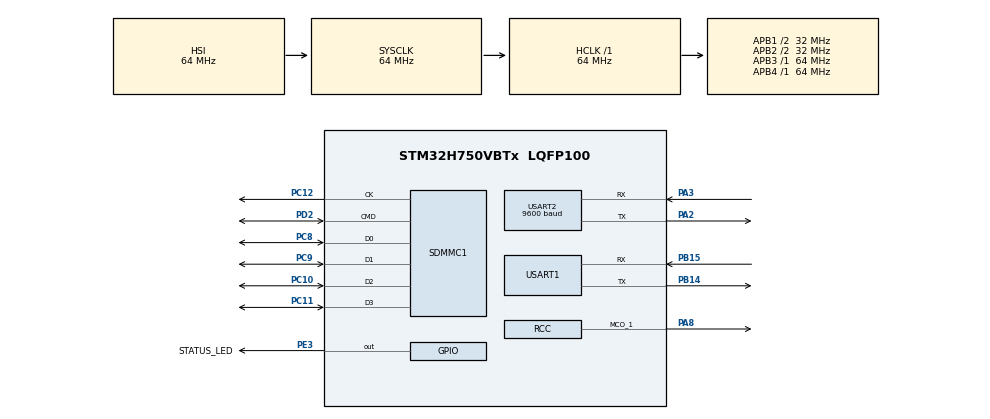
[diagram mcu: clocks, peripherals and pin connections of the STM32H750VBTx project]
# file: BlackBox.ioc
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CORTEX_M7.default_mode_Activation=1
Dma.Request0=USART2_RX
Dma.USART2_RX.0.Direction=DMA_PERIPH_TO_MEMORY
Dma.USART2_RX.0.EventEnable=DISABLE
Dma.USART2_RX.0.FIFOMode=DMA_FIFOMODE_DISABLE
Dma.USART2_RX.0.Instance=DMA1_Stream0
Dma.USART2_RX.0.MemDataAlignment=DMA_MDATAALIGN_BYTE
Dma.USART2_RX.0.MemInc=DMA_MINC_ENABLE
Dma.USART2_RX.0.Mode=DMA_CIRCULAR
Dma.USART2_RX.0.PeriphDataAlignment=DMA_PDATAALIGN_BYTE
Dma.USART2_RX.0.PeriphInc=DMA_PINC_DISABLE
Dma.USART2_RX.0.Polarity=HAL_DMAMUX_REQ_GEN_RISING
Dma.USART2_RX.0.Priority=DMA_PRIORITY_LOW
Dma.USART2_RX.0.RequestNumber=1
Dma.USART2_RX.0.SignalID=NONE
Dma.USART2_RX.0.SyncEnable=DISABLE
Dma.USART2_RX.0.SyncPolarity=HAL_DMAMUX_SYNC_NO_EVENT
Dma.USART2_RX.0.SyncRequestNumber=1
Dma.USART2_RX.0.SyncSignalID=NONE
FREERTOS.Tasks01=defaultTask,24,128,StartDefaultTask,Default,NULL,Dynamic,NULL,NULL
FREERTOS.configTOTAL_HEAP_SIZE=16384
Mcu.Family=STM32H7
Mcu.Name=STM32H750VBTx
Mcu.Package=LQFP100
NVIC.DMA1_Stream0_IRQn=true\:5\:0\:false\:false\:true\:true\:false\:true\:true
NVIC.PriorityGroup=NVIC_PRIORITYGROUP_4
NVIC.RCC_IRQn=true\:5\:0\:false\:false\:true\:true\:true\:false\:true
NVIC.SDMMC1_IRQn=true\:5\:0\:false\:false\:true\:true\:true\:true\:true
NVIC.TIM6_DAC_IRQn=true\:15\:0\:false\:false\:true\:false\:false\:true\:true
NVIC.TimeBase=TIM6_DAC_IRQn
NVIC.TimeBaseIP=TIM6
NVIC.USART1_IRQn=true\:5\:0\:false\:false\:true\:true\:true\:true\:true
NVIC.USART2_IRQn=true\:5\:0\:false\:false\:true\:true\:true\:true\:true
PA2.Mode=Asynchronous
PA2.Signal=USART2_TX
PA3.Mode=Asynchronous
PA3.Signal=USART2_RX
PA8.Mode=Clock-out-1
PA8.Signal=RCC_MCO_1
PB14.Mode=Asynchronous
PB14.Signal=USART1_TX
PB15.Mode=Asynchronous
PB15.Signal=USART1_RX
PC10.Mode=SD_4_bits_Wide_bus
PC10.Signal=SDMMC1_D2
PC11.Mode=SD_4_bits_Wide_bus
PC11.Signal=SDMMC1_D3
PC12.Mode=SD_4_bits_Wide_bus
PC12.Signal=SDMMC1_CK
PC8.Mode=SD_4_bits_Wide_bus
PC8.Signal=SDMMC1_D0
PC9.Mode=SD_4_bits_Wide_bus
PC9.Signal=SDMMC1_D1
PD2.Mode=SD_4_bits_Wide_bus
PD2.Signal=SDMMC1_CMD
PE3.GPIO_Label=STATUS_LED
PE3.Signal=GPIO_Output
PH0-OSC_IN\ (PH0).Mode=HSE-External-Oscillator
PH0-OSC_IN\ (PH0).Signal=RCC_OSC_IN
PH1-OSC_OUT\ (PH1).Mode=HSE-External-Oscillator
PH1-OSC_OUT\ (PH1).Signal=RCC_OSC_OUT
ProjectManager.HeapSize=0x200
ProjectManager.StackSize=0x400
ProjectManager.TargetToolchain=CMake
RCC.ADCFreq_Value=129000000
RCC.APB1Freq_Value=32000000
RCC.APB2Freq_Value=32000000
RCC.APB3Freq_Value=64000000
RCC.APB4Freq_Value=64000000
RCC.CortexFreq_Value=64000000
RCC.D2PPRE1=RCC_APB1_DIV2
RCC.D2PPRE2=RCC_APB2_DIV2
RCC.DIVM1=4
RCC.DIVN1=10
RCC.HCLKFreq_Value=64000000
RCC.PLLFRACN=0
RCC.SYSCLKFreq_VALUE=64000000
RCC.USBFreq_Value=80000000
USART1.VirtualMode-Asynchronous=VM_ASYNC
USART2.BaudRate=9600
USART2.VirtualMode-Asynchronous=VM_ASYNC
VP_FATFS_VS_Generic.Mode=User_defined
VP_FREERTOS_VS_CMSIS_V2.Mode=CMSIS_V2
VP_MEMORYMAP_VS_MEMORYMAP.Mode=CurAppReg
VP_SYS_VS_tim6.Mode=TIM6
board=custom

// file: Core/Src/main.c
/* USER CODE BEGIN Header */
/**
  ******************************************************************************
  * @file           : main.c
  * @brief          : Main program body
  ******************************************************************************
  * @attention
  *
  * Copyright (c) 2026 STMicroelectronics.
  * All rights reserved.
  *
  * This software is licensed under terms that can be found in the LICENSE file
  * in the root directory of this software component.
  * If no LICENSE file comes with this software, it is provided AS-IS.
  *
  ******************************************************************************
  */
/* USER CODE END Header */
#include "main.h"
#include "FreeRTOS.h"
#include "cmsis_os2.h"
#include "fatfs.h"

/* USER CODE BEGIN PM */
#define MPU6050_ADDR (0x68 << 1)
#define REG_PWR_MGMT_1 0x6B
#define REG_ACCEL_XOUT_H 0x3B
#define GPS_BUS_SIZE 256
/* USER CODE END PM */

SD_HandleTypeDef hsd1;

UART_HandleTypeDef huart1;
UART_HandleTypeDef huart2;
DMA_HandleTypeDef hdma_usart2_rx;

/* Definitions for defaultTask */
osThreadId_t defaultTaskHandle;
const osThreadAttr_t defaultTask_attributes = {
  .name = "defaultTask",
  .stack_size = 128 * 4,
  .priority = (osPriority_t) osPriorityNormal,
};

void SystemClock_Config(void);
static void MPU_Config(void);
static void MX_GPIO_Init(void);
static void MX_DMA_Init(void);
static void MX_SDMMC1_SD_Init(void);
static void MX_USART1_UART_Init(void);
static void MX_USART2_UART_Init(void);
void StartDefaultTask(void *argument);

/* USER CODE BEGIN 0 */

void ImuTask(void *argument) {
  for(;;){
    LogRecord_t rec = read_mpu6050_and_pack();
    osMutexAcquire(ringBufMutex, osWaitForever);
    ring_buffer_push(&rec);
    osMutexRelease(ringBufMutex);
    osDelay(10);
  }
}

void LoggerTask(void* argument){
  for(;;) {
    osSemaphoreAcquire(flushSemaphore, osWaitForever);

    osMutexAcquire(ringBufMutex, osWaitForever);
    uint8_t *chunk; size_t len;
    ring_buffer_get_ready_chunk(&chunk, &len);
    osMutexRelease(ringBufMutex);
    UINT written;
    f_write(&lof_file, chunk, len, &written);
    maybe_sync();
  }
}

void mpu6050_init(I2C_HandleTypeDef *hi2c) {
  uint8_t wake = 0x00;
  HAL_I2C_Mem_Write(hi2c, MPU6050_ADDR, REG_PWR_MGMT_1, 1, &wake, 1, 100);
}

void mpu6050_read(I2C_HandleTypeDef *hi2c, int16_t *out /* {ax,ay,az,gz,gy,gz}*/) {
  uint8_t buf[14];
  HAL_I2C_Mem_Read(hi2c, MPU6050_ADDR, REG_ACCEL_XOUT_H, 1, buf, 14, 100);
  for (int i = 0; i < 6; i++) {
    int idx = (i < 3) ? i*2 : i*2+2;
    out[i] = (int16_t)((buf[idx] << 8) | buf[idx + 1]);
  }
}

void gps_start(UART_HandleTypeDef *huart){
  HAL_UARTEx_RecieveToIdle_DMA(huart, gps_dma_buf, GPS_BUF_SIZE);
  __HAL_DMA_DIABLE_IT(huart->hdmarx, DMA_IT_HT);
}

void HAL_UARTEx_RxEventCallback(UART_HandleTypeDef *huart, uint16_t Size) {
  osMessageQueuePut(gpsRawQueue, gps_dma_buf, 0, 0);
  HAL_UARTEx_ReceiveToIdle_DMA(huart, gps_dma_buf, GPS_BUF_SIZE);
}
/* USER CODE END 0 */

int main(void)
{

  /* USER CODE BEGIN 1 */
  res = f_mount(&fs, "", 1);
  if(res != FR_OK) {Error_Handler();}

  res = f_open(&file, "test.bin", FA_CREATE_ALWAYS | FA_WRITE);
  if(res != FR_OK) {Error_Handler();}
  const char msg[] = "Hello from STM32\n";
  res = f_write(&file, msg, sizeof(msg), &bytes_written);
  f_close(&file);
  /* USER CODE END 1 */

  /* MPU Configuration--------------------------------------------------------*/
  MPU_Config();

  /* MCU Configuration--------------------------------------------------------*/

  /* Reset of all peripherals, Initializes the Flash interface and the Systick. */
  HAL_Init();

  /* Configure the system clock */
  SystemClock_Config();

  /* Initialize all configured peripherals */
  MX_GPIO_Init();
  MX_DMA_Init();
  MX_SDMMC1_SD_Init();
  MX_USART1_UART_Init();
  MX_FATFS_Init();
  MX_USART2_UART_Init();

  /* Init scheduler */
  osKernelInitialize();

  /* Create the thread(s) */
  /* creation of defaultTask */
  defaultTaskHandle = osThreadNew(StartDefaultTask, NULL, &defaultTask_attributes);

  /* Start scheduler */
  osKernelStart();

  /* We should never get here as control is now taken by the scheduler */

  /* Infinite loop */
  while (1)
  {

  }
}

void SystemClock_Config(void)
{
  RCC_OscInitTypeDef RCC_OscInitStruct = {0};
  RCC_ClkInitTypeDef RCC_ClkInitStruct = {0};

  /** Supply configuration update enable
  */
  HAL_PWREx_ConfigSupply(PWR_LDO_SUPPLY);

  /** Configure the main internal regulator output voltage
  */
  __HAL_PWR_VOLTAGESCALING_CONFIG(PWR_REGULATOR_VOLTAGE_SCALE3);

  while(!__HAL_PWR_GET_FLAG(PWR_FLAG_VOSRDY)) {}

  /** Initializes the RCC Oscillators according to the specified parameters
  * in the RCC_OscInitTypeDef structure.
  */
  RCC_OscInitStruct.OscillatorType = RCC_OSCILLATORTYPE_HSI;
  RCC_OscInitStruct.HSIState = RCC_HSI_DIV1;
  RCC_OscInitStruct.HSICalibrationValue = RCC_HSICALIBRATION_DEFAULT;
  RCC_OscInitStruct.PLL.PLLState = RCC_PLL_ON;
  RCC_OscInitStruct.PLL.PLLSource = RCC_PLLSOURCE_HSI;
  RCC_OscInitStruct.PLL.PLLM = 4;
  RCC_OscInitStruct.PLL.PLLN = 10;
  RCC_OscInitStruct.PLL.PLLP = 2;
  RCC_OscInitStruct.PLL.PLLQ = 2;
  RCC_OscInitStruct.PLL.PLLR = 2;
  RCC_OscInitStruct.PLL.PLLRGE = RCC_PLL1VCIRANGE_3;
  RCC_OscInitStruct.PLL.PLLVCOSEL = RCC_PLL1VCOMEDIUM;
  RCC_OscInitStruct.PLL.PLLFRACN = 0;
  if (HAL_RCC_OscConfig(&RCC_OscInitStruct) != HAL_OK)
  {
    Error_Handler();
  }

  /** Initializes the CPU, AHB and APB buses clocks
  */
  RCC_ClkInitStruct.ClockType = RCC_CLOCKTYPE_HCLK|RCC_CLOCKTYPE_SYSCLK
                              |RCC_CLOCKTYPE_PCLK1|RCC_CLOCKTYPE_PCLK2
                              |RCC_CLOCKTYPE_D3PCLK1|RCC_CLOCKTYPE_D1PCLK1;
  RCC_ClkInitStruct.SYSCLKSource = RCC_SYSCLKSOURCE_HSI;
  RCC_ClkInitStruct.SYSCLKDivider = RCC_SYSCLK_DIV1;
  RCC_ClkInitStruct.AHBCLKDivider = RCC_HCLK_DIV1;
  RCC_ClkInitStruct.APB3CLKDivider = RCC_APB3_DIV1;
  RCC_ClkInitStruct.APB1CLKDivider = RCC_APB1_DIV2;
  RCC_ClkInitStruct.APB2CLKDivider = RCC_APB2_DIV2;
  RCC_ClkInitStruct.APB4CLKDivider = RCC_APB4_DIV1;

  if (HAL_RCC_ClockConfig(&RCC_ClkInitStruct, FLASH_LATENCY_1) != HAL_OK)
  {
    Error_Handler();
  }
  HAL_RCC_MCOConfig(RCC_MCO1, RCC_MCO1SOURCE_HSI, RCC_MCODIV_1);
}

static void MX_SDMMC1_SD_Init(void)
{

  hsd1.Instance = SDMMC1;
  hsd1.Init.ClockEdge = SDMMC_CLOCK_EDGE_RISING;
  hsd1.Init.ClockPowerSave = SDMMC_CLOCK_POWER_SAVE_DISABLE;
  hsd1.Init.BusWide = SDMMC_BUS_WIDE_4B;
  hsd1.Init.HardwareFlowControl = SDMMC_HARDWARE_FLOW_CONTROL_DISABLE;
  hsd1.Init.ClockDiv = 0;
  if (HAL_SD_Init(&hsd1) != HAL_OK)
  {
    Error_Handler();
  }

}

static void MX_USART1_UART_Init(void)
{

  huart1.Instance = USART1;
  huart1.Init.BaudRate = 115200;
  huart1.Init.WordLength = UART_WORDLENGTH_8B;
  huart1.Init.StopBits = UART_STOPBITS_1;
  huart1.Init.Parity = UART_PARITY_NONE;
  huart1.Init.Mode = UART_MODE_TX_RX;
  huart1.Init.HwFlowCtl = UART_HWCONTROL_NONE;
  huart1.Init.OverSampling = UART_OVERSAMPLING_16;
  huart1.Init.OneBitSampling = UART_ONE_BIT_SAMPLE_DISABLE;
  huart1.Init.ClockPrescaler = UART_PRESCALER_DIV1;
  huart1.AdvancedInit.AdvFeatureInit = UART_ADVFEATURE_NO_INIT;
  if (HAL_UART_Init(&huart1) != HAL_OK)
  {
    Error_Handler();
  }
  if (HAL_UARTEx_SetTxFifoThreshold(&huart1, UART_TXFIFO_THRESHOLD_1_8) != HAL_OK)
  {
    Error_Handler();
  }
  if (HAL_UARTEx_SetRxFifoThreshold(&huart1, UART_RXFIFO_THRESHOLD_1_8) != HAL_OK)
  {
    Error_Handler();
  }
  if (HAL_UARTEx_DisableFifoMode(&huart1) != HAL_OK)
  {
    Error_Handler();
  }

}

static void MX_USART2_UART_Init(void)
{

  huart2.Instance = USART2;
  huart2.Init.BaudRate = 9600;
  huart2.Init.WordLength = UART_WORDLENGTH_8B;
  huart2.Init.StopBits = UART_STOPBITS_1;
  huart2.Init.Parity = UART_PARITY_NONE;
  huart2.Init.Mode = UART_MODE_TX_RX;
  huart2.Init.HwFlowCtl = UART_HWCONTROL_NONE;
  huart2.Init.OverSampling = UART_OVERSAMPLING_16;
  huart2.Init.OneBitSampling = UART_ONE_BIT_SAMPLE_DISABLE;
  huart2.Init.ClockPrescaler = UART_PRESCALER_DIV1;
  huart2.AdvancedInit.AdvFeatureInit = UART_ADVFEATURE_NO_INIT;
  if (HAL_UART_Init(&huart2) != HAL_OK)
  {
    Error_Handler();
  }
  if (HAL_UARTEx_SetTxFifoThreshold(&huart2, UART_TXFIFO_THRESHOLD_1_8) != HAL_OK)
  {
    Error_Handler();
  }
  if (HAL_UARTEx_SetRxFifoThreshold(&huart2, UART_RXFIFO_THRESHOLD_1_8) != HAL_OK)
  {
    Error_Handler();
  }
  if (HAL_UARTEx_DisableFifoMode(&huart2) != HAL_OK)
  {
    Error_Handler();
  }

}

static void MX_DMA_Init(void)
{

  /* DMA controller clock enable */
  __HAL_RCC_DMA1_CLK_ENABLE();

  /* DMA interrupt init */
  /* DMA1_Stream0_IRQn interrupt configuration */
  HAL_NVIC_SetPriority(DMA1_Stream0_IRQn, 5, 0);
  HAL_NVIC_EnableIRQ(DMA1_Stream0_IRQn);

}

static void MX_GPIO_Init(void)
{
  GPIO_InitTypeDef GPIO_InitStruct = {0};

  /* GPIO Ports Clock Enable */
  __HAL_RCC_GPIOE_CLK_ENABLE();
  __HAL_RCC_GPIOH_CLK_ENABLE();
  __HAL_RCC_GPIOA_CLK_ENABLE();
  __HAL_RCC_GPIOB_CLK_ENABLE();
  __HAL_RCC_GPIOC_CLK_ENABLE();
  __HAL_RCC_GPIOD_CLK_ENABLE();

  /*Configure GPIO pin Output Level */
  HAL_GPIO_WritePin(STATUS_LED_GPIO_Port, STATUS_LED_Pin, GPIO_PIN_RESET);

  /*Configure GPIO pin : STATUS_LED_Pin */
  GPIO_InitStruct.Pin = STATUS_LED_Pin;
  GPIO_InitStruct.Mode = GPIO_MODE_OUTPUT_PP;
  GPIO_InitStruct.Pull = GPIO_NOPULL;
  GPIO_InitStruct.Speed = GPIO_SPEED_FREQ_LOW;
  HAL_GPIO_Init(STATUS_LED_GPIO_Port, &GPIO_InitStruct);

  /*Configure GPIO pin : PA8 */
  GPIO_InitStruct.Pin = GPIO_PIN_8;
  GPIO_InitStruct.Mode = GPIO_MODE_AF_PP;
  GPIO_InitStruct.Pull = GPIO_NOPULL;
  GPIO_InitStruct.Speed = GPIO_SPEED_FREQ_LOW;
  GPIO_InitStruct.Alternate = GPIO_AF0_MCO;
  HAL_GPIO_Init(GPIOA, &GPIO_InitStruct);

}

void StartDefaultTask(void *argument)
{
  for(;;)
  {
    osDelay(1);
  }
}

 /* MPU Configuration */

void MPU_Config(void)
{
  MPU_Region_InitTypeDef MPU_InitStruct = {0};

  /* Disables the MPU */
  HAL_MPU_Disable();

  /** Initializes and configures the Region and the memory to be protected
  */
  MPU_InitStruct.Enable = MPU_REGION_ENABLE;
  MPU_InitStruct.Number = MPU_REGION_NUMBER0;
  MPU_InitStruct.BaseAddress = 0x0;
  MPU_InitStruct.Size = MPU_REGION_SIZE_4GB;
  MPU_InitStruct.SubRegionDisable = 0x87;
  MPU_InitStruct.TypeExtField = MPU_TEX_LEVEL0;
  MPU_InitStruct.AccessPermission = MPU_REGION_NO_ACCESS;
  MPU_InitStruct.DisableExec = MPU_INSTRUCTION_ACCESS_DISABLE;
  MPU_InitStruct.IsShareable = MPU_ACCESS_SHAREABLE;
  MPU_InitStruct.IsCacheable = MPU_ACCESS_NOT_CACHEABLE;
  MPU_InitStruct.IsBufferable = MPU_ACCESS_NOT_BUFFERABLE;

  HAL_MPU_ConfigRegion(&MPU_InitStruct);
  /* Enables the MPU */
  HAL_MPU_Enable(MPU_PRIVILEGED_DEFAULT);

}

void HAL_TIM_PeriodElapsedCallback(TIM_HandleTypeDef *htim)
{
  if (htim->Instance == TIM6)
  {
    HAL_IncTick();
  }
}

void Error_Handler(void)
{
  __disable_irq();
  while (1)
  {
  }
}
